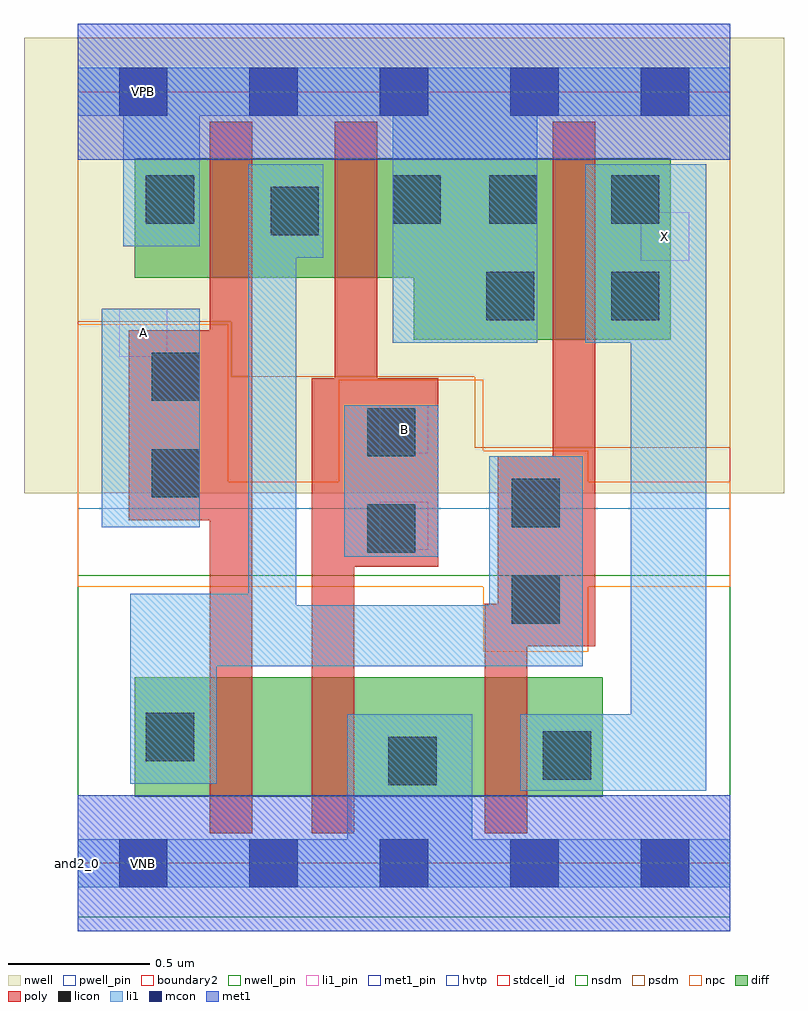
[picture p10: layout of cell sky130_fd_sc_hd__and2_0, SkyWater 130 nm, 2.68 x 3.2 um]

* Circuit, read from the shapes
.subckt sky130_fd_sc_hd__and2_0 A B VGND VNB VPB VPWR X
XM1 n1 A n2 VNB sky130_fd_pr__nfet_01v8 w=0.42 l=0.15
XM2 VGND B n1 VNB sky130_fd_pr__nfet_01v8 w=0.42 l=0.15
XM3 X n2 VGND VNB sky130_fd_pr__nfet_01v8 w=0.42 l=0.15
XM4 n2 A VPWR VPB sky130_fd_pr__pfet_01v8_hvt w=0.42 l=0.15
XM5 VPWR B n2 VPB sky130_fd_pr__pfet_01v8_hvt w=0.42 l=0.15
XM6 X n2 VPWR VPB sky130_fd_pr__pfet_01v8_hvt w=0.64 l=0.15
.ends

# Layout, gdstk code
import gdstk
lib = gdstk.Library(unit=1e-6, precision=1e-09)
def R(c, l, rs):  # rectangles x0, y0, x1, y1
    for r in rs: c.add(gdstk.rectangle(r[:2], r[2:], *l))
def A(c, l, x, y, w, h, nx, ny, dx, dy):  # array of equal rectangles
    R(c, l, [(x+i*dx, y+j*dy, x+i*dx+w, y+j*dy+h) for i in range(nx) for j in range(ny)])
def P(c, l, *ps):  # polygons
    for p in ps: c.add(gdstk.Polygon(p, *l))
nwell_pin = (64, 16)
nwell = (64, 20)
diff = (65, 20)
poly = (66, 20)
licon = (66, 44)
li1_pin = (67, 16)
li1 = (67, 20)
mcon = (67, 44)
met1_pin = (68, 16)
met1 = (68, 20)
hvtp = (78, 44)
stdcell_id = (81, 4)
nsdm = (93, 44)
psdm = (94, 20)
npc = (95, 20)
pwell_pin = (122, 16)
boundary2 = (236, 0)

sky130_fd_sc_hd__and2_0 = lib.new_cell('sky130_fd_sc_hd__and2_0')
R(sky130_fd_sc_hd__and2_0, nwell_pin, [(0.145,2.635,0.315,2.805)])
R(sky130_fd_sc_hd__and2_0, nwell, [(-0.19,1.305,2.49,2.91)])
R(sky130_fd_sc_hd__and2_0, diff, [(0.2,0.235,1.85,0.655)])
P(sky130_fd_sc_hd__and2_0, diff, [(2.09,2.485),(0.2,2.485),(0.2,2.065),(1.185,2.065),(1.185,1.845),(2.09,1.845)])
P(sky130_fd_sc_hd__and2_0, poly, [(0.615,2.615),(0.465,2.615),(0.465,1.88),(0.18,1.88),(0.18,1.21),(0.465,1.21),(0.465,0.105),(0.615,0.105)],
  [(1.27,1.71),(1.055,1.71),(1.055,2.615),(0.905,2.615),(0.905,1.71),(0.825,1.71),(0.825,0.105),(0.975,0.105),(0.975,1.045),(1.27,1.045)],
  [(1.825,2.615),(1.675,2.615),(1.675,1.435),(1.48,1.435),(1.48,0.915),(1.435,0.915),(1.435,0.105),(1.585,0.105),(1.585,0.765),(1.825,0.765)])
R(sky130_fd_sc_hd__and2_0, licon, [(1.095,0.275,1.265,0.445), (1.64,0.295,1.81,0.465), (0.24,0.36,0.41,0.53), (1.53,0.845,1.7,1.015), (1.02,1.095,1.19,1.265), (1.53,1.185,1.7,1.355), (0.26,1.29,0.43,1.46), (1.02,1.435,1.19,1.605), (0.26,1.63,0.43,1.8), (1.44,1.915,1.61,2.085), (1.88,1.915,2.05,2.085), (0.68,2.215,0.85,2.385), (0.24,2.255,0.41,2.425), (1.11,2.255,1.28,2.425), (1.45,2.255,1.62,2.425), (1.88,2.255,2.05,2.425)])
R(sky130_fd_sc_hd__and2_0, li1_pin, [(1.065,1.105,1.235,1.275), (1.065,1.445,1.235,1.615), (0.145,1.785,0.315,1.955), (1.985,2.125,2.155,2.295)])
R(sky130_fd_sc_hd__and2_0, li1, [(0.94,1.08,1.27,1.615), (0.085,1.185,0.43,1.955)])
P(sky130_fd_sc_hd__and2_0, li1, [(2.3,0.085),(1.39,0.085),(1.39,0.525),(0.95,0.525),(0.95,0.085),(0,0.085),(0,-0.085),(2.3,-0.085)],
  [(2.3,2.805),(0,2.805),(0,2.635),(0.16,2.635),(0.16,2.175),(0.43,2.175),(0.43,2.635),(1.11,2.635),(1.11,1.835),(1.62,1.835),(1.62,2.635),(2.3,2.635)],
  [(1.78,1.435),(1.45,1.435),(1.45,0.91),(0.77,0.91),(0.77,2.135),(0.865,2.135),(0.865,2.465),(0.6,2.465),(0.6,0.95),(0.185,0.95),(0.185,0.28),(0.49,0.28),(0.49,0.695),(1.78,0.695)],
  [(2.215,2.465),(1.79,2.465),(1.79,1.835),(1.95,1.835),(1.95,0.525),(1.56,0.525),(1.56,0.255),(2.215,0.255)])
A(sky130_fd_sc_hd__and2_0, mcon, 0.145, -0.085, 0.17, 0.17, 5, 2, 0.46, 2.72)
R(sky130_fd_sc_hd__and2_0, met1_pin, [(0.145,-0.085,0.315,0.085), (0.145,2.635,0.315,2.805)])
R(sky130_fd_sc_hd__and2_0, hvtp, [(0,1.25,2.3,2.72)])
R(sky130_fd_sc_hd__and2_0, stdcell_id, [(0,0,2.3,2.72)])
R(sky130_fd_sc_hd__and2_0, nsdm, [(0,-0.19,2.3,1.015)])
P(sky130_fd_sc_hd__and2_0, psdm, [(2.3,2.91),(0,2.91),(0,1.91),(0.54,1.91),(0.54,1.715),(1.4,1.715),(1.4,1.465),(2.3,1.465)])
P(sky130_fd_sc_hd__and2_0, npc, [(2.3,1.345),(1.8,1.345),(1.8,1.455),(1.43,1.455),(1.43,1.705),(0.92,1.705),(0.92,1.345),(0.53,1.345),(0.53,1.9),(0,1.9),(0,0.975),(1.43,0.975),(1.43,0.745),(1.8,0.745),(1.8,0.975),(2.3,0.975)])
R(sky130_fd_sc_hd__and2_0, pwell_pin, [(0.145,-0.085,0.315,0.085)])
R(sky130_fd_sc_hd__and2_0, boundary2, [(0,0,2.3,2.72)])
sky130_fd_sc_hd__and2_0.add(gdstk.FlexPath([(0,2.72),(2.3,2.72)], 0.48, ends="flush", simple_path=True, layer=68, datatype=20))  # met1
sky130_fd_sc_hd__and2_0.add(gdstk.FlexPath([(0,0),(2.3,0)], 0.48, ends="flush", simple_path=True, layer=68, datatype=20))  # met1
sky130_fd_sc_hd__and2_0.add(gdstk.Label('VNB', (0.23,0), layer=64, texttype=59))
sky130_fd_sc_hd__and2_0.add(gdstk.Label('VPB', (0.23,2.72), layer=64, texttype=5))
sky130_fd_sc_hd__and2_0.add(gdstk.Label('VPWR', (0.23,2.72), layer=68, texttype=5))
sky130_fd_sc_hd__and2_0.add(gdstk.Label('VGND', (0.23,0), layer=68, texttype=5))
sky130_fd_sc_hd__and2_0.add(gdstk.Label('X', (2.07,2.21), layer=67, texttype=5))
sky130_fd_sc_hd__and2_0.add(gdstk.Label('B', (1.15,1.53), layer=67, texttype=5))
sky130_fd_sc_hd__and2_0.add(gdstk.Label('A', (0.23,1.87), layer=67, texttype=5))
sky130_fd_sc_hd__and2_0.add(gdstk.Label('and2_0', (0,0), layer=83, texttype=44))

lib.write_gds('sky130_fd_sc_hd__and2_0.gds')
